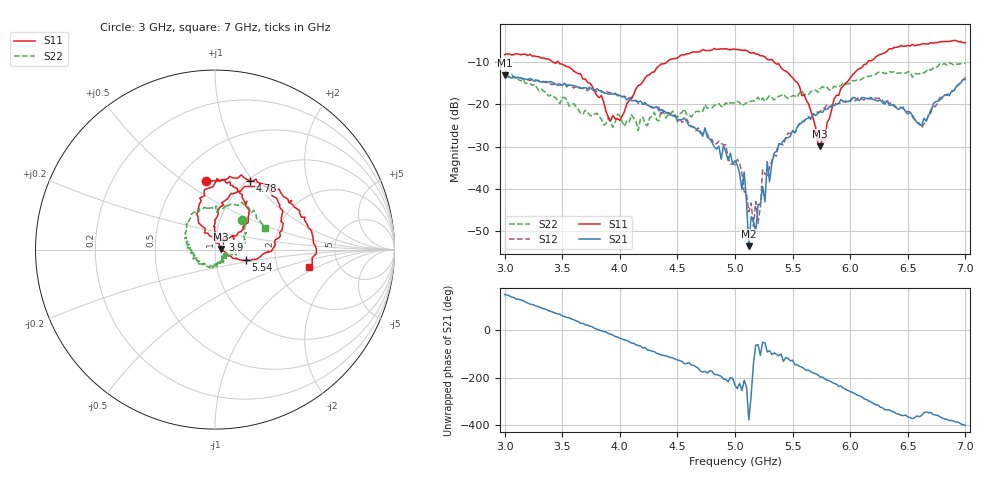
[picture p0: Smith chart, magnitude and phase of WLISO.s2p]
!Keysight Technologies N9918A: A.08.15
!Date: Thursday, 07 December 2017 12:42:23
!Timezone: (GMT-08:00) Pacific Time (US & Canada)
!Model: N9918A
!Serial: MY53103150
!GPS Latitude:
!GPS Longitude:
!GPS TimeStamp: 0001-01-01 00:00:00Z
!GPS Seconds Since Last Read: 0
!CHECKSUM:1991148116
!Correction: S11(ON U)S21(ON U)S12(ON U)S22(ON U)
!S2P File: Measurements:S11,S21,S12,S22:
# Hz S DB R 50
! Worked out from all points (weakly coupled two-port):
!   201 points, 3 GHz to 7 GHz, reference 50 ohm
!   highest |S21| = -13.20 dB at 3 GHz (marker M1); lowest = -53.5 dB at 5.12 GHz (marker M2)
!   lowest |S11| = -29.9 dB at 5.74 GHz (marker M3), VSWR 1.07, Z = 53.3 + j0.36 ohm
!   |S11| at or under -10 dB: 3.418 GHz to 3.454 GHz (35.24 MHz wide, 1.03 % of centre); 3.465 GHz to 4.411 GHz (945.7 MHz wide, 24 % of centre); 5.337 GHz to 6.154 GHz (816.1 MHz wide, 14.2 % of centre)
!   |S22| runs from -26.2 to -10.2 dB; largest |S21 - S12| = 0.014
!   S11 on the Smith chart (normalised r, x): 3 GHz: 0.68, +0.61; 3.9 GHz: 1.09, +0.12; 4.78 GHz: 1.03, +0.97; 5.54 GHz: 1.40, -0.17; 7 GHz: 3.01, -0.82
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3e9  -8.28 97.7  -13.20 151.1  -13.23 152.3  -12.99 47.9
3.68e9  -14.06 38.9  -16.13 29.6  -16.32 28.2  -22.36 -26.1
3.9e9  -23.05 50.3  -17.59 -13.3  -17.19 -12.4  -23.28 -24.6
4.34e9  -10.98 105.8  -21.55 -99.1  -20.71 -92.5  -23.92 -51.0
4.78e9  -7.34 62.7  -28.15 -170.7  -28.30 -176.9  -20.92 -82.5
5e9  -7.00 39.2  -33.33 128.7  -34.34 127.4  -19.61 -119.3
5.06e9  -7.31 33.5  -40.14 106.5  -36.09 106.8  -20.38 -127.5
5.08e9  -7.24 29.6  -36.03 149.7  -40.69 160.9  -20.04 -123.9
5.12e9  -7.64 26.6  -53.49 -17.0  -45.37 20.1  -19.69 -131.0
5.2e9  -8.22 16.1  -43.58 -59.9  -48.15 -37.4  -18.32 -138.5
5.24e9  -8.61 11.5  -39.40 -49.6  -35.50 -81.6  -18.53 -144.4
5.26e9  -8.81 10.5  -43.04 -53.0  -36.44 -80.9  -19.30 -143.3
5.28e9  -9.41 9.0  -33.55 -90.7  -36.77 -88.2  -18.64 -149.3
5.3e9  -9.52 6.6  -38.30 -85.7  -34.93 -77.4  -17.95 -149.0
5.34e9  -10.08 -1.7  -31.54 -94.4  -31.97 -101.8  -19.00 -155.6
5.54e9  -14.88 -19.3  -25.37 -144.9  -25.58 -143.3  -18.38 -170.7
5.68e9  -23.52 -17.7  -22.20 -179.2  -22.30 -176.0  -16.98 -180.0
5.74e9  -29.94 6.1  -21.78 163.5  -21.67 171.3  -16.25 176.7
5.92e9  -16.23 89.1  -18.86 125.7  -19.73 126.6  -15.62 165.1
6.34e9  -6.93 55.3  -20.25 24.8  -19.85 21.4  -12.25 112.1
6.62e9  -5.82 26.2  -25.06 1.3  -25.52 0.8  -12.58 79.1
7e9  -5.51 -10.6  -14.19 -40.5  -13.66 -40.6  -10.33 23.4
